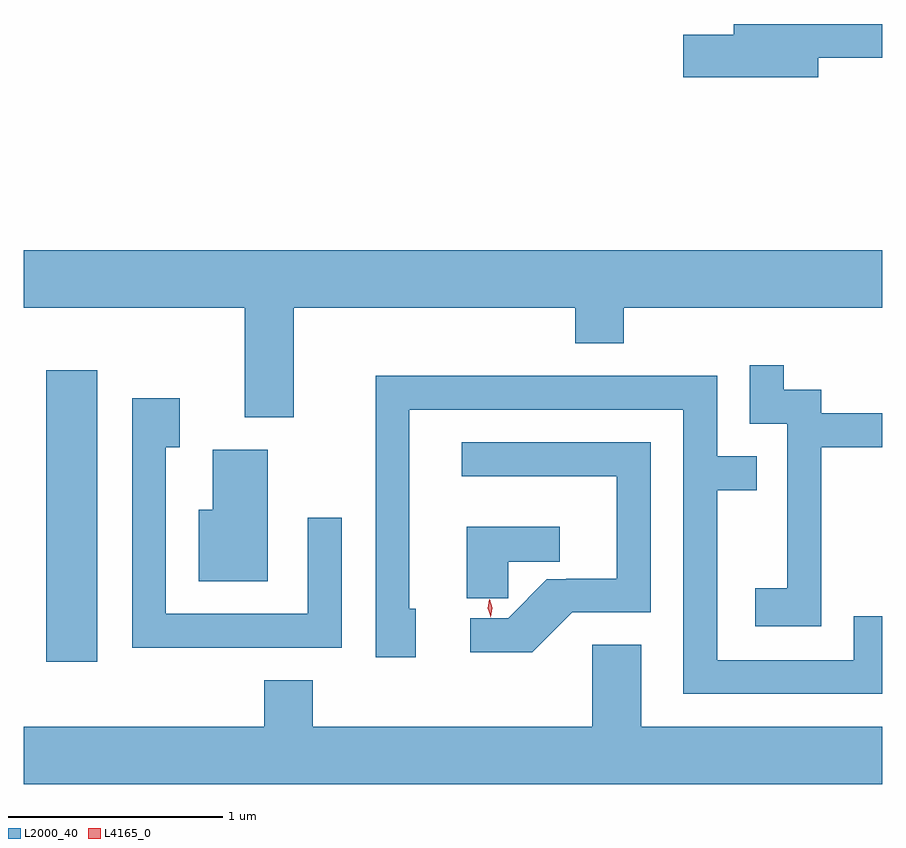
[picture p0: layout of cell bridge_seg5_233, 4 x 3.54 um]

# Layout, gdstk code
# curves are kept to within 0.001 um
import gdstk
lib = gdstk.Library(unit=1e-6, precision=1e-09)
def R(c, l, rs):  # rectangles x0, y0, x1, y1
    for r in rs: c.add(gdstk.rectangle(r[:2], r[2:], *l))
def P(c, l, *ps):  # polygons
    for p in ps: c.add(gdstk.Polygon(p, *l))
L2000_40 = (2000, 40)
L4165_0 = (4165, 0)

bridge_seg5_233 = lib.new_cell('bridge_seg5_233')
R(bridge_seg5_233, L2000_40, [(884.216,1495.106,884.454,1496.464)])
P(bridge_seg5_233, L2000_40, [(887.814,1497.921),(888.112,1497.921),(888.112,1498.079),(887.421,1498.079),(887.421,1498.029),(887.186,1498.029),(887.186,1497.831),(887.814,1497.831)],
  [(885.369,1496.756),(886.681,1496.756),(886.681,1496.591),(886.909,1496.591),(886.909,1496.756),(888.112,1496.756),(888.112,1497.024),(884.112,1497.024),(884.112,1496.756),(885.141,1496.756),(885.141,1496.246),(885.369,1496.246)],
  [(887.829,1496.106),(888.112,1496.106),(888.112,1496.264),(887.829,1496.264),(887.829,1496.374),(887.654,1496.374),(887.654,1496.488),(887.496,1496.488),(887.496,1496.216),(887.671,1496.216),(887.671,1495.449),(887.521,1495.449),(887.521,1495.271),(887.829,1495.271)],
  [(888.112,1495.319),(887.981,1495.319),(887.981,1495.114),(887.344,1495.114),(887.344,1495.906),(887.528,1495.906),(887.528,1496.064),(887.344,1496.064),(887.344,1496.439),(885.751,1496.439),(885.751,1495.126),(885.939,1495.126),(885.939,1495.354),(885.909,1495.354),(885.909,1496.281),(887.186,1496.281),(887.186,1494.956),(888.112,1494.956)],
  [(885.594,1495.778),(885.436,1495.778),(885.436,1495.329),(884.774,1495.329),(884.774,1496.106),(884.839,1496.106),(884.839,1496.334),(884.616,1496.334),(884.616,1495.171),(885.594,1495.171)],
  [(886.667,1495.336),(887.034,1495.336),(887.034,1496.129),(886.153,1496.129),(886.153,1495.971),(886.876,1495.971),(886.876,1495.494),(886.639,1495.493),(886.639,1495.49),(886.55,1495.49),(886.369,1495.309),(886.193,1495.309),(886.193,1495.151),(886.482,1495.151)],
  [(885.249,1496.094),(884.991,1496.094),(884.991,1495.814),(884.926,1495.814),(884.926,1495.481),(885.249,1495.481)],
  [(886.369,1495.571),(886.609,1495.571),(886.609,1495.735),(886.175,1495.735),(886.175,1495.401),(886.369,1495.401)],
  [(888.112,1494.804),(886.989,1494.804),(886.989,1495.184),(886.761,1495.184),(886.761,1494.804),(885.459,1494.804),(885.459,1495.019),(885.231,1495.019),(885.231,1494.804),(884.112,1494.804),(884.112,1494.536),(888.112,1494.536)])
P(bridge_seg5_233, L4165_0, [(886.287,1495.316),(886.287,1495.317),(886.274,1495.356),(886.281,1495.396),(886.282,1495.396),(886.282,1495.396),(886.294,1495.357),(886.288,1495.317)],
  [(886.288,1495.314),(886.276,1495.356),(886.283,1495.398),(886.284,1495.398),(886.284,1495.398),(886.296,1495.357),(886.289,1495.314),(886.289,1495.314)])

lib.write_gds('bridge_seg5_233.gds')
